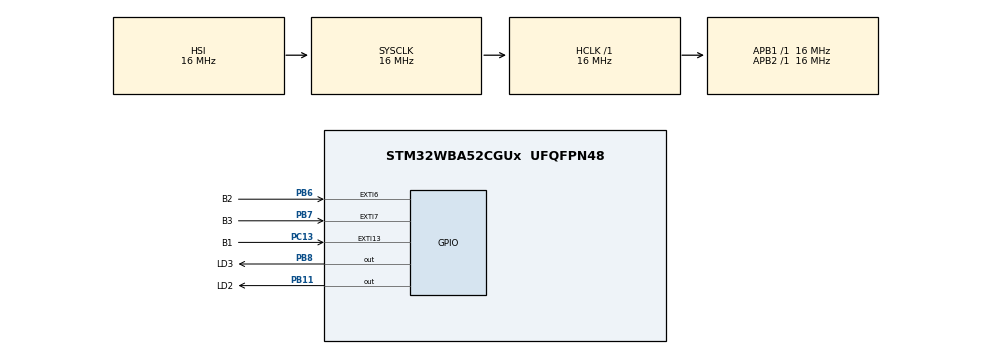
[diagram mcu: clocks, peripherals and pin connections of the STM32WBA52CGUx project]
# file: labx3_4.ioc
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CORTEX_M33_NS.userName=CORTEX_M33
Mcu.Family=STM32WBA
Mcu.Name=STM32WBA52CGUx
Mcu.Package=UFQFPN48
NVIC.EXTI13_IRQn=true\:3\:0\:true\:false\:true\:true\:true\:true
NVIC.EXTI6_IRQn=true\:3\:0\:true\:false\:true\:true\:true\:true
NVIC.EXTI7_IRQn=true\:3\:0\:true\:false\:true\:true\:true\:true
NVIC.PriorityGroup=NVIC_PRIORITYGROUP_4
NVIC.TIM1_BRK_IRQn=true\:5\:0\:true\:false\:true\:true\:true\:true
NVIC.TIM1_CC_IRQn=true\:5\:0\:true\:false\:true\:true\:true\:true
NVIC.TIM1_TRG_COM_IRQn=true\:5\:0\:true\:false\:true\:true\:true\:true
NVIC.TIM1_UP_IRQn=true\:5\:0\:true\:false\:true\:true\:true\:true
OSC_IN.GPIO_Label=RCC_OSC_IN
OSC_IN.Signal=RCC_OSC_IN
OSC_OUT.GPIO_Label=RCC_OSC_OUT
OSC_OUT.Signal=RCC_OSC_OUT
PA13\ (JTMS/SWDIO).GPIO_Label=DEBUG_JTMS-SWDIO
PA13\ (JTMS/SWDIO).Signal=DEBUG_JTMS-SWDIO
PA14\ (JTCK/SWCLK).GPIO_Label=DEBUG_JTCK-SWCLK
PA14\ (JTCK/SWCLK).Signal=DEBUG_JTCK-SWCLK
PA8.GPIO_Label=USART1_RX
PA8.Signal=USART1_RX
PB11.GPIO_Label=LD2
PB11.GPIO_Speed=GPIO_SPEED_FREQ_HIGH
PB11.Signal=GPIO_Output
PB12.GPIO_Label=USART1_TX
PB12.Signal=USART1_TX
PB6.GPIO_Label=B2
PB6.GPIO_ModeDefaultEXTI=GPIO_MODE_IT_RISING
PB6.GPIO_PuPd=GPIO_PULLUP
PB6.Signal=GPXTI6
PB7.GPIO_Label=B3
PB7.GPIO_ModeDefaultEXTI=GPIO_MODE_IT_RISING
PB7.GPIO_PuPd=GPIO_PULLUP
PB7.Signal=GPXTI7
PB8.GPIO_Label=LD3
PB8.GPIO_Speed=GPIO_SPEED_FREQ_HIGH
PB8.Signal=GPIO_Output
PC13.GPIO_Label=B1
PC13.GPIO_ModeDefaultEXTI=GPIO_MODE_IT_RISING
PC13.GPIO_PuPd=GPIO_PULLUP
PC13.Signal=GPXTI13
PC14-OSC32_IN.GPIO_Label=RCC_OSC32_IN
PC14-OSC32_IN.Signal=RCC_OSC32_IN
PC15-OSC32_OUT.GPIO_Label=RCC_OSC32_OUT
PC15-OSC32_OUT.Signal=RCC_OSC32_OUT
ProjectManager.HeapSize=0x200
ProjectManager.StackSize=0x400
ProjectManager.TargetToolchain=STM32CubeIDE
RCC.ADCFreq_Value=16000000
RCC.AHBFreq_Value=16000000
RCC.APB1Freq_Value=16000000
RCC.APB1TimFreq_Value=16000000
RCC.APB2Freq_Value=16000000
RCC.APB2TimFreq_Value=16000000
RCC.CortexFreq_Value=2000000
RCC.HCLKFreq_Value=16000000
RCC.HSE_VALUE=32000000
RCC.HSI_VALUE=16000000
RCC.LSE_VALUE=32768
RCC.PWR_Regulator_Voltage_Scale=PWR_REGULATOR_VOLTAGE_SCALE1
RCC.SYSCLKFreq_VALUE=16000000
RCC.VCOOutputFreq_Value=2064000000
TIM1.AutoReloadPreload=TIM_AUTORELOAD_PRELOAD_ENABLE
TIM1.Channel-Output\ Compare3\ No\ Output=TIM_CHANNEL_3
TIM1.OCMode_3=TIM_OCMODE_ACTIVE
TIM1.OCPolarity_3=TIM_OCPOLARITY_LOW
TIM1.PeriodNoDither=600
TIM1.Prescaler=15999
TIM1.PulseNoDither_3=500
VP_CORTEX_M33_NS_VS_Hclk.Mode=Hclk_Mode
VP_ICACHE_VS_ICACHE.Mode=DirectMappedCache
VP_MEMORYMAP_VS_MEMORYMAP.Mode=CurAppReg
VP_PWR_VS_SECSignals.Mode=Security/Privilege
VP_TIM1_VS_no_output3.Mode=Output Compare3 No Output
board=NUCLEO-WBA52CG

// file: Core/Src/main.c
/* USER CODE BEGIN Header */
/**
  ******************************************************************************
  * @file           : main.c
  * @brief          : Main program body
  ******************************************************************************
  * @attention
  *
  * Copyright (c) 2025 STMicroelectronics.
  * All rights reserved.
  *
  * This software is licensed under terms that can be found in the LICENSE file
  * in the root directory of this software component.
  * If no LICENSE file comes with this software, it is provided AS-IS.
  *
  ******************************************************************************
  */
/* USER CODE END Header */
#include "main.h"

TIM_HandleTypeDef htim1;

void SystemClock_Config(void);
static void MX_GPIO_Init(void);
static void MX_ICACHE_Init(void);
static void MX_TIM1_Init(void);

/* USER CODE BEGIN 0 */
volatile uint8_t active_timer = 0;

void HAL_GPIO_EXTI_Rising_Callback(uint16_t GPIO_Pin)
{
    if(GPIO_Pin == B2_Pin)
    {
        __HAL_TIM_SET_COUNTER(&htim1, 0);
        HAL_TIM_Base_Start_IT(&htim1);
        HAL_TIM_OC_Start_IT(&htim1, TIM_CHANNEL_3);
    }
}

void HAL_TIM_OC_DelayElapsedCallback(TIM_HandleTypeDef *htim)
{
    if (htim->Instance == TIM1 && htim->Channel == HAL_TIM_ACTIVE_CHANNEL_3)
    {

        HAL_GPIO_WritePin(GPIOB, LD2_Pin, GPIO_PIN_RESET);
    }
}

void HAL_TIM_PeriodElapsedCallback(TIM_HandleTypeDef *htim)
{
    if(htim->Instance == TIM1)
    {
        HAL_GPIO_WritePin(GPIOB, LD2_Pin, GPIO_PIN_SET);
        HAL_TIM_Base_Stop_IT(&htim1);
        HAL_TIM_OC_Stop_IT(&htim1, TIM_CHANNEL_3);
    }
}

/* USER CODE END 0 */

int main(void)
{

  /* MCU Configuration--------------------------------------------------------*/

  /* Reset of all peripherals, Initializes the Flash interface and the Systick. */
  HAL_Init();

  /* Configure the system clock */
  SystemClock_Config();

  /* Initialize all configured peripherals */
  MX_GPIO_Init();
  MX_ICACHE_Init();
  MX_TIM1_Init();
  /* USER CODE BEGIN 2 */
  HAL_GPIO_WritePin(GPIOB, LD2_Pin | LD3_Pin, GPIO_PIN_SET);
  /* USER CODE END 2 */

  /* Infinite loop */
  while (1)
  {

  }
}

void SystemClock_Config(void)
{
  RCC_OscInitTypeDef RCC_OscInitStruct = {0};
  RCC_ClkInitTypeDef RCC_ClkInitStruct = {0};

  /** Configure the main internal regulator output voltage
  */
  if (HAL_PWREx_ControlVoltageScaling(PWR_REGULATOR_VOLTAGE_SCALE1) != HAL_OK)
  {
    Error_Handler();
  }

  /** Initializes the CPU, AHB and APB busses clocks
  */
  RCC_OscInitStruct.OscillatorType = RCC_OSCILLATORTYPE_HSI;
  RCC_OscInitStruct.HSIState = RCC_HSI_ON;
  RCC_OscInitStruct.HSICalibrationValue = RCC_HSICALIBRATION_DEFAULT;
  RCC_OscInitStruct.PLL1.PLLState = RCC_PLL_NONE;
  if (HAL_RCC_OscConfig(&RCC_OscInitStruct) != HAL_OK)
  {
    Error_Handler();
  }

  /** Initializes the CPU, AHB and APB busses clocks
  */
  RCC_ClkInitStruct.ClockType = RCC_CLOCKTYPE_HCLK|RCC_CLOCKTYPE_SYSCLK
                              |RCC_CLOCKTYPE_PCLK1|RCC_CLOCKTYPE_PCLK2
                              |RCC_CLOCKTYPE_PCLK7|RCC_CLOCKTYPE_HCLK5;
  RCC_ClkInitStruct.SYSCLKSource = RCC_SYSCLKSOURCE_HSI;
  RCC_ClkInitStruct.AHBCLKDivider = RCC_SYSCLK_DIV1;
  RCC_ClkInitStruct.APB1CLKDivider = RCC_HCLK_DIV1;
  RCC_ClkInitStruct.APB2CLKDivider = RCC_HCLK_DIV1;
  RCC_ClkInitStruct.APB7CLKDivider = RCC_HCLK_DIV1;
  RCC_ClkInitStruct.AHB5_PLL1_CLKDivider = RCC_SYSCLK_PLL1_DIV1;
  RCC_ClkInitStruct.AHB5_HSEHSI_CLKDivider = RCC_SYSCLK_HSEHSI_DIV1;

  if (HAL_RCC_ClockConfig(&RCC_ClkInitStruct, FLASH_LATENCY_0) != HAL_OK)
  {
    Error_Handler();
  }
}

static void MX_ICACHE_Init(void)
{

  /** Enable instruction cache in 1-way (direct mapped cache)
  */
  if (HAL_ICACHE_ConfigAssociativityMode(ICACHE_1WAY) != HAL_OK)
  {
    Error_Handler();
  }
  if (HAL_ICACHE_Enable() != HAL_OK)
  {
    Error_Handler();
  }

}

static void MX_TIM1_Init(void)
{

  TIM_MasterConfigTypeDef sMasterConfig = {0};
  TIM_OC_InitTypeDef sConfigOC = {0};
  TIM_BreakDeadTimeConfigTypeDef sBreakDeadTimeConfig = {0};

  htim1.Instance = TIM1;
  htim1.Init.Prescaler = 15999;
  htim1.Init.CounterMode = TIM_COUNTERMODE_UP;
  htim1.Init.Period = 600;
  htim1.Init.ClockDivision = TIM_CLOCKDIVISION_DIV1;
  htim1.Init.RepetitionCounter = 0;
  htim1.Init.AutoReloadPreload = TIM_AUTORELOAD_PRELOAD_ENABLE;
  if (HAL_TIM_OC_Init(&htim1) != HAL_OK)
  {
    Error_Handler();
  }
  sMasterConfig.MasterOutputTrigger = TIM_TRGO_RESET;
  sMasterConfig.MasterOutputTrigger2 = TIM_TRGO2_RESET;
  sMasterConfig.MasterSlaveMode = TIM_MASTERSLAVEMODE_DISABLE;
  if (HAL_TIMEx_MasterConfigSynchronization(&htim1, &sMasterConfig) != HAL_OK)
  {
    Error_Handler();
  }
  sConfigOC.OCMode = TIM_OCMODE_ACTIVE;
  sConfigOC.Pulse = 500;
  sConfigOC.OCPolarity = TIM_OCPOLARITY_LOW;
  sConfigOC.OCNPolarity = TIM_OCNPOLARITY_HIGH;
  sConfigOC.OCFastMode = TIM_OCFAST_DISABLE;
  sConfigOC.OCIdleState = TIM_OCIDLESTATE_RESET;
  sConfigOC.OCNIdleState = TIM_OCNIDLESTATE_RESET;
  if (HAL_TIM_OC_ConfigChannel(&htim1, &sConfigOC, TIM_CHANNEL_3) != HAL_OK)
  {
    Error_Handler();
  }
  sBreakDeadTimeConfig.OffStateRunMode = TIM_OSSR_DISABLE;
  sBreakDeadTimeConfig.OffStateIDLEMode = TIM_OSSI_DISABLE;
  sBreakDeadTimeConfig.LockLevel = TIM_LOCKLEVEL_OFF;
  sBreakDeadTimeConfig.DeadTime = 0;
  sBreakDeadTimeConfig.BreakState = TIM_BREAK_DISABLE;
  sBreakDeadTimeConfig.BreakPolarity = TIM_BREAKPOLARITY_HIGH;
  sBreakDeadTimeConfig.BreakFilter = 0;
  sBreakDeadTimeConfig.BreakAFMode = TIM_BREAK_AFMODE_INPUT;
  sBreakDeadTimeConfig.Break2State = TIM_BREAK2_DISABLE;
  sBreakDeadTimeConfig.Break2Polarity = TIM_BREAK2POLARITY_HIGH;
  sBreakDeadTimeConfig.Break2Filter = 0;
  sBreakDeadTimeConfig.Break2AFMode = TIM_BREAK_AFMODE_INPUT;
  sBreakDeadTimeConfig.AutomaticOutput = TIM_AUTOMATICOUTPUT_DISABLE;
  if (HAL_TIMEx_ConfigBreakDeadTime(&htim1, &sBreakDeadTimeConfig) != HAL_OK)
  {
    Error_Handler();
  }

}

static void MX_GPIO_Init(void)
{
  GPIO_InitTypeDef GPIO_InitStruct = {0};

  /* GPIO Ports Clock Enable */
  __HAL_RCC_GPIOB_CLK_ENABLE();
  __HAL_RCC_GPIOA_CLK_ENABLE();
  __HAL_RCC_GPIOC_CLK_ENABLE();

  /*Configure GPIO pin Output Level */
  HAL_GPIO_WritePin(GPIOB, LD2_Pin|LD3_Pin, GPIO_PIN_RESET);

  /*Configure GPIO pin : USART1_TX_Pin */
  GPIO_InitStruct.Pin = USART1_TX_Pin;
  GPIO_InitStruct.Mode = GPIO_MODE_AF_PP;
  GPIO_InitStruct.Pull = GPIO_NOPULL;
  GPIO_InitStruct.Speed = GPIO_SPEED_FREQ_LOW;
  GPIO_InitStruct.Alternate = GPIO_AF7_USART1;
  HAL_GPIO_Init(USART1_TX_GPIO_Port, &GPIO_InitStruct);

  /*Configure GPIO pins : LD2_Pin LD3_Pin */
  GPIO_InitStruct.Pin = LD2_Pin|LD3_Pin;
  GPIO_InitStruct.Mode = GPIO_MODE_OUTPUT_PP;
  GPIO_InitStruct.Pull = GPIO_NOPULL;
  GPIO_InitStruct.Speed = GPIO_SPEED_FREQ_HIGH;
  HAL_GPIO_Init(GPIOB, &GPIO_InitStruct);

  /*Configure GPIO pin : USART1_RX_Pin */
  GPIO_InitStruct.Pin = USART1_RX_Pin;
  GPIO_InitStruct.Mode = GPIO_MODE_AF_PP;
  GPIO_InitStruct.Pull = GPIO_NOPULL;
  GPIO_InitStruct.Speed = GPIO_SPEED_FREQ_LOW;
  GPIO_InitStruct.Alternate = GPIO_AF7_USART1;
  HAL_GPIO_Init(USART1_RX_GPIO_Port, &GPIO_InitStruct);

  /*Configure GPIO pin : B1_Pin */
  GPIO_InitStruct.Pin = B1_Pin;
  GPIO_InitStruct.Mode = GPIO_MODE_IT_RISING;
  GPIO_InitStruct.Pull = GPIO_PULLUP;
  HAL_GPIO_Init(B1_GPIO_Port, &GPIO_InitStruct);

  /*Configure GPIO pins : B3_Pin B2_Pin */
  GPIO_InitStruct.Pin = B3_Pin|B2_Pin;
  GPIO_InitStruct.Mode = GPIO_MODE_IT_RISING;
  GPIO_InitStruct.Pull = GPIO_PULLUP;
  HAL_GPIO_Init(GPIOB, &GPIO_InitStruct);

  /* EXTI interrupt init*/
  HAL_NVIC_SetPriority(EXTI6_IRQn, 3, 0);
  HAL_NVIC_EnableIRQ(EXTI6_IRQn);

  HAL_NVIC_SetPriority(EXTI7_IRQn, 3, 0);
  HAL_NVIC_EnableIRQ(EXTI7_IRQn);

  HAL_NVIC_SetPriority(EXTI13_IRQn, 3, 0);
  HAL_NVIC_EnableIRQ(EXTI13_IRQn);

}

void Error_Handler(void)
{
  __disable_irq();
  while (1)
  {
  }
}
